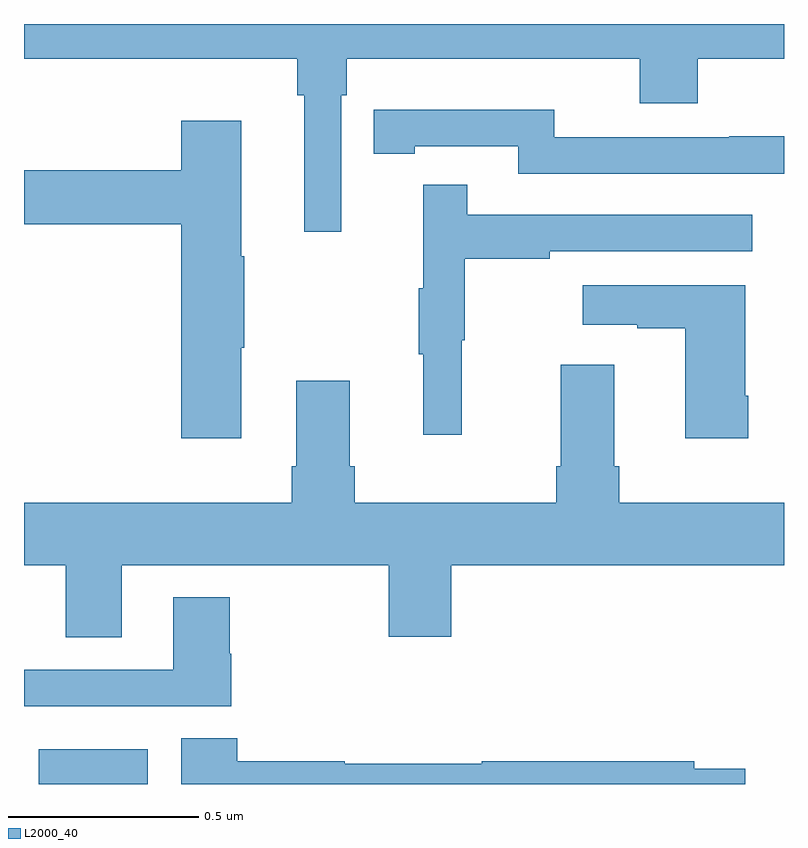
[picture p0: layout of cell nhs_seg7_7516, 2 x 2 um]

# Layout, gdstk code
import gdstk
lib = gdstk.Library(unit=1e-6, precision=1e-09)
def R(c, l, rs):  # rectangles x0, y0, x1, y1
    for r in rs: c.add(gdstk.rectangle(r[:2], r[2:], *l))
def P(c, l, *ps):  # polygons
    for p in ps: c.add(gdstk.Polygon(p, *l))
L2000_40 = (2000, 40)

nhs_seg7_7516 = lib.new_cell('nhs_seg7_7516')
R(nhs_seg7_7516, L2000_40, [(212.039,1040,212.326,1040.092)])
P(nhs_seg7_7516, L2000_40, [(212.835,1041.812),(212.849,1041.812),(212.849,1041.908),(213.62,1041.908),(213.62,1041.791),(213.773,1041.791),(213.773,1041.908),(214,1041.908),(214,1042),(212,1042),(212,1041.908),(212.719,1041.908),(212.719,1041.812),(212.738,1041.812),(212.738,1041.453),(212.835,1041.453)],
  [(214,1041.704),(213.856,1041.704),(213.856,1041.702),(213.396,1041.702),(213.396,1041.775),(213.028,1041.775),(213.028,1041.774),(212.92,1041.774),(212.92,1041.658),(213.028,1041.658),(213.028,1041.678),(213.3,1041.678),(213.3,1041.606),(214,1041.606)],
  [(212.572,1041.148),(212.58,1041.148),(212.58,1041.389),(212.572,1041.389),(212.572,1041.745),(212.414,1041.745),(212.414,1041.615),(212,1041.615),(212,1041.473),(212.414,1041.473),(212.414,1040.91),(212.572,1040.91)],
  [(213.152,1041.168),(213.16,1041.168),(213.16,1041.382),(213.383,1041.382),(213.383,1041.402),(213.916,1041.402),(213.916,1041.498),(213.167,1041.498),(213.167,1041.577),(213.05,1041.577),(213.05,1041.305),(213.039,1041.305),(213.039,1041.131),(213.05,1041.131),(213.05,1040.919),(213.152,1040.919)],
  [(213.906,1041.022),(213.898,1041.022),(213.898,1041.313),(213.471,1041.313),(213.471,1041.209),(213.614,1041.209),(213.614,1041.199),(213.74,1041.199),(213.74,1040.91),(213.906,1040.91)],
  [(213.553,1040.836),(213.553,1041.103),(213.413,1041.103),(213.413,1040.836),(213.401,1040.836),(213.401,1040.74),(212.87,1040.74),(212.87,1040.836),(212.857,1040.836),(212.857,1041.061),(212.717,1041.061),(212.717,1040.836),(212.705,1040.836),(212.705,1040.74),(212,1040.74),(212,1040.576),(212.11,1040.576),(212.11,1040.386),(212.257,1040.386),(212.257,1040.576),(212.96,1040.576),(212.96,1040.388),(213.124,1040.388),(213.124,1040.576),(214,1040.576),(214,1040.74),(213.566,1040.74),(213.566,1040.836)],
  [(212.546,1040.343),(212.541,1040.343),(212.541,1040.491),(212.393,1040.491),(212.393,1040.301),(212,1040.301),(212,1040.205),(212.546,1040.205)],
  [(213.898,1040.04),(213.764,1040.04),(213.764,1040.06),(213.204,1040.06),(213.204,1040.053),(212.844,1040.053),(212.844,1040.06),(212.561,1040.06),(212.561,1040.12),(212.414,1040.12),(212.414,1040),(213.898,1040)])

lib.write_gds('nhs_seg7_7516.gds')
